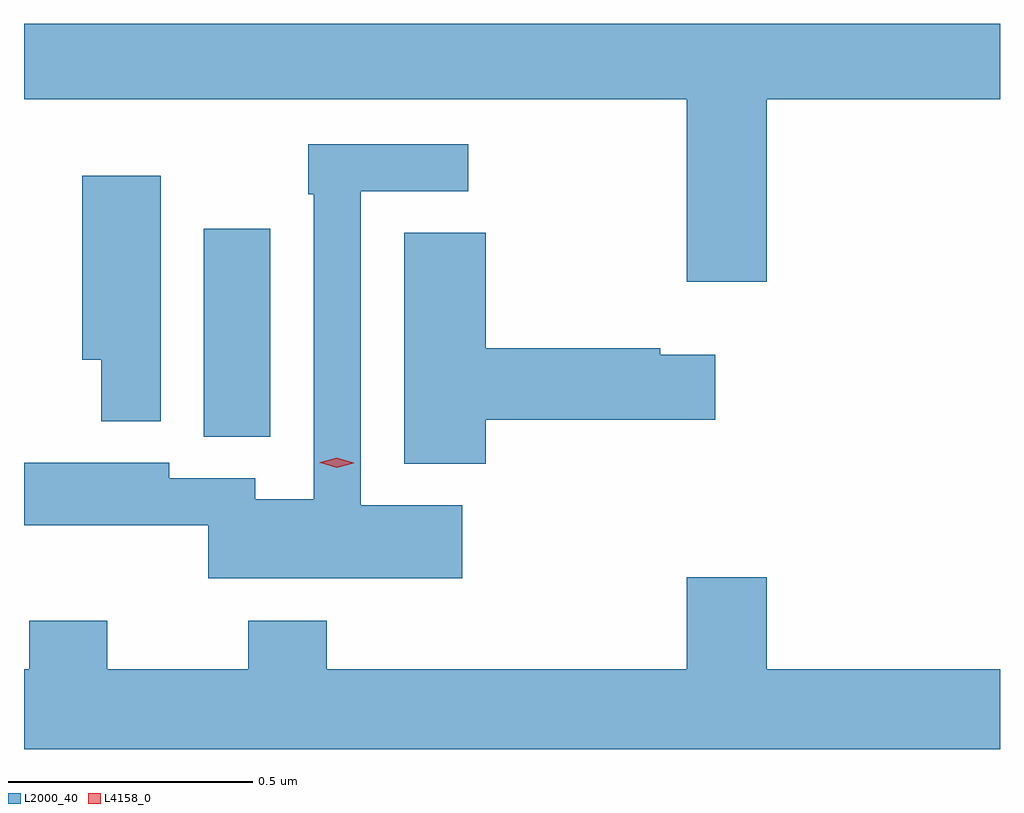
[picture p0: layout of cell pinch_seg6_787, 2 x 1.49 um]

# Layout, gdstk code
import gdstk
lib = gdstk.Library(unit=1e-6, precision=1e-09)
def R(c, l, rs):  # rectangles x0, y0, x1, y1
    for r in rs: c.add(gdstk.rectangle(r[:2], r[2:], *l))
def P(c, l, *ps):  # polygons
    for p in ps: c.add(gdstk.Polygon(p, *l))
L2000_40 = (2000, 40)
L4158_0 = (4158, 0)

pinch_seg6_787 = lib.new_cell('pinch_seg6_787')
R(pinch_seg6_787, L2000_40, [(295.886,990.601,296.023,991.027)])
P(pinch_seg6_787, L2000_40, [(295.518,991.292),(296.876,991.292),(296.876,990.918),(297.04,990.918),(297.04,991.292),(297.518,991.292),(297.518,991.447),(295.518,991.447)],
  [(296.416,990.46),(296.208,990.46),(296.208,991.104),(296.428,991.104),(296.428,991.2),(296.1,991.2),(296.1,991.097),(296.112,991.097),(296.112,990.472),(295.992,990.472),(295.992,990.516),(295.816,990.516),(295.816,990.547),(295.518,990.547),(295.518,990.419),(295.896,990.419),(295.896,990.311),(296.416,990.311)],
  [(295.798,991.135),(295.637,991.135),(295.637,990.758),(295.676,990.758),(295.676,990.632),(295.798,990.632)],
  [(296.464,990.635),(296.935,990.635),(296.935,990.769),(296.822,990.769),(296.822,990.782),(296.464,990.782),(296.464,991.019),(296.297,991.019),(296.297,990.545),(296.464,990.545)],
  [(297.518,990.124),(297.04,990.124),(297.04,990.313),(296.876,990.313),(296.876,990.124),(296.138,990.124),(296.138,990.223),(295.978,990.223),(295.978,990.124),(295.689,990.124),(295.689,990.223),(295.529,990.223),(295.529,990.124),(295.518,990.124),(295.518,989.96),(297.518,989.96)])
P(pinch_seg6_787, L4158_0, [(296.159,990.537),(296.125,990.547),(296.124,990.547),(296.125,990.548),(296.159,990.557),(296.194,990.547),(296.194,990.546),(296.194,990.546)])

lib.write_gds('pinch_seg6_787.gds')
